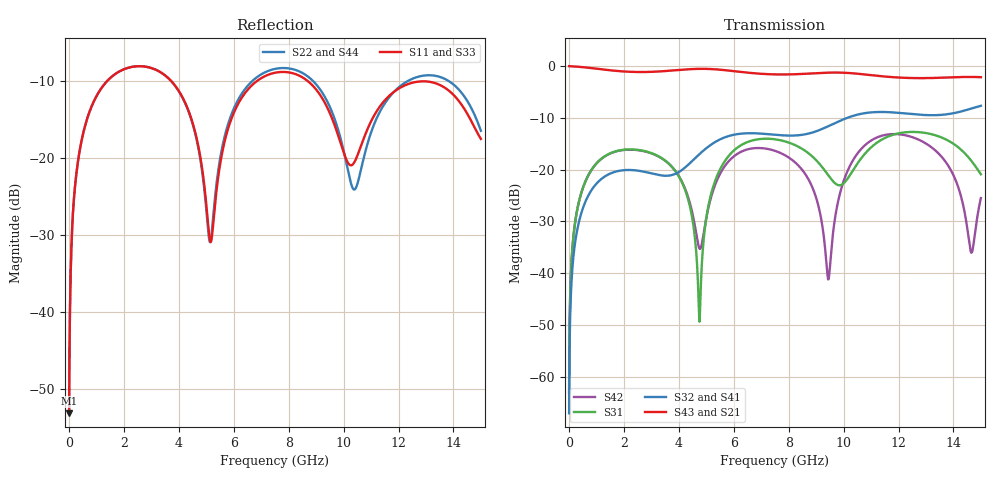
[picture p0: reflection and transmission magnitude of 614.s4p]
! Created with skrf 1.8.0 (http://scikit-rf.org).
# GHz S RI R 50.0
!freq ReS11 ImS11 ReS12 ImS12 ReS13 ImS13
! ReS14 ImS14
! ReS21 ImS21 ReS22 ImS22 ReS23 ImS23
! ReS24 ImS24
! ReS31 ImS31 ReS32 ImS32 ReS33 ImS33
! ReS34 ImS34
! ReS41 ImS41 ReS42 ImS42 ReS43 ImS43
! ReS44 ImS44
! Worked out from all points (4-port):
!   2499 points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, 5 MHz to 15 GHz, reference 50 ohm
!   strongest paths, dB at 5 MHz, 3.476 GHz, 7.19 GHz, 11.1 GHz, 15 GHz:
!     S43: 0.0, -1.0, -1.5, -1.8, -2.1
!     S21: 0.0, -1.0, -1.5, -1.8, -2.1
!     S32: -67.1, -21.2, -13.1, -8.9, -7.7
!     S41: -67.1, -21.2, -13.2, -8.9, -7.7
!     S31: -63.1, -18.1, -14.0, -15.3, -20.9
!     S42: -63.1, -18.2, -16.0, -14.1, -25.5
!   lowest |S11| = -53.2 dB at 5 MHz (marker M1), VSWR 1.00, Z = 50.2 + j0.133 ohm
!   |S11| at or under -10 dB: start of sweep to 1.402 GHz; 3.712 GHz to 6.86 GHz (3.148 GHz wide, 59.5 % of centre); 8.681 GHz to end of sweep
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0.005  0.00174 0.00132  0.9982 -0.00339  8.78e-05 0.000691  -8.53e-05 -0.000433
       0.9982 -0.00339  0.00174 0.00132  -8.53e-05 -0.000433  8.78e-05 0.000691
       8.78e-05 0.000691  -8.53e-05 -0.000433  0.00174 0.00132  0.9982 -0.00339
       -8.53e-05 -0.000433  8.78e-05 0.000691  0.9982 -0.00339  0.00174 0.00132
1.569404  0.292 0.1687  0.4995 -0.7568  0.1362 0.0531  -0.093 0.00206
          0.4995 -0.7568  0.2926 0.1682  -0.0931 0.00214  0.1346 0.0554
          0.1362 0.0531  -0.0931 0.00214  0.292 0.1687  0.4994 -0.7568
          -0.093 0.00206  0.1346 0.0554  0.4994 -0.7568  0.2926 0.1682
4.747727  0.0517 -0.0966  -0.8899 -0.3046  0.0034 -0.000462  -0.0416 0.1345
          -0.8899 -0.3046  0.0503 -0.094  -0.0408 0.1347  -0.0163 -0.00581
          0.0034 -0.000462  -0.0408 0.1347  0.0511 -0.0972  -0.8899 -0.3045
          -0.0416 0.1345  -0.0163 -0.00581  -0.8899 -0.3045  0.0511 -0.0941
7.903293  0.3599 -0.00785  -0.0348 0.8294  0.1387 -0.124  0.2062 -0.0504
          -0.0348 0.8294  0.3807 -0.03  0.2068 -0.0531  0.1305 -0.0378
          0.1387 -0.124  0.2068 -0.0531  0.3591 -0.00412  -0.0343 0.8294
          0.2062 -0.0504  0.1305 -0.0378  -0.0343 0.8294  0.3809 -0.0338
9.441434  0.1623 -0.126  0.6525 0.5669  -0.0581 -0.0666  0.168 -0.2016
          0.6525 0.5669  0.1547 -0.1637  0.1646 -0.2044  -0.00762 -0.00418
          -0.0581 -0.0666  0.1646 -0.2044  0.1653 -0.1219  0.6533 0.5661
          0.168 -0.2016  -0.00762 -0.00418  0.6533 0.5661  0.1503 -0.166
10.67945  0.1113 0.0582  0.8337 -0.0565  0.0324 0.1284  -0.0424 -0.3454
          0.8337 -0.0565  0.0784 0.0457  -0.0471 -0.3443  0.0663 0.148
          0.0324 0.1284  -0.0471 -0.3443  0.116 0.0602  0.8331 -0.0585
          -0.0424 -0.3454  0.0663 0.148  0.8331 -0.0585  0.0751 0.0498
15  0.1268 -0.0383  -0.6613 -0.4185  -0.0841 -0.0325  -0.2208 0.3493
    -0.6613 -0.4185  0.1062 -0.1051  -0.2144 0.3537  -0.0215 0.0485
    -0.0841 -0.0325  -0.2144 0.3537  0.132 -0.0458  -0.6598 -0.4183
    -0.2208 0.3493  -0.0215 0.0485  -0.6598 -0.4183  0.1118 -0.1116
